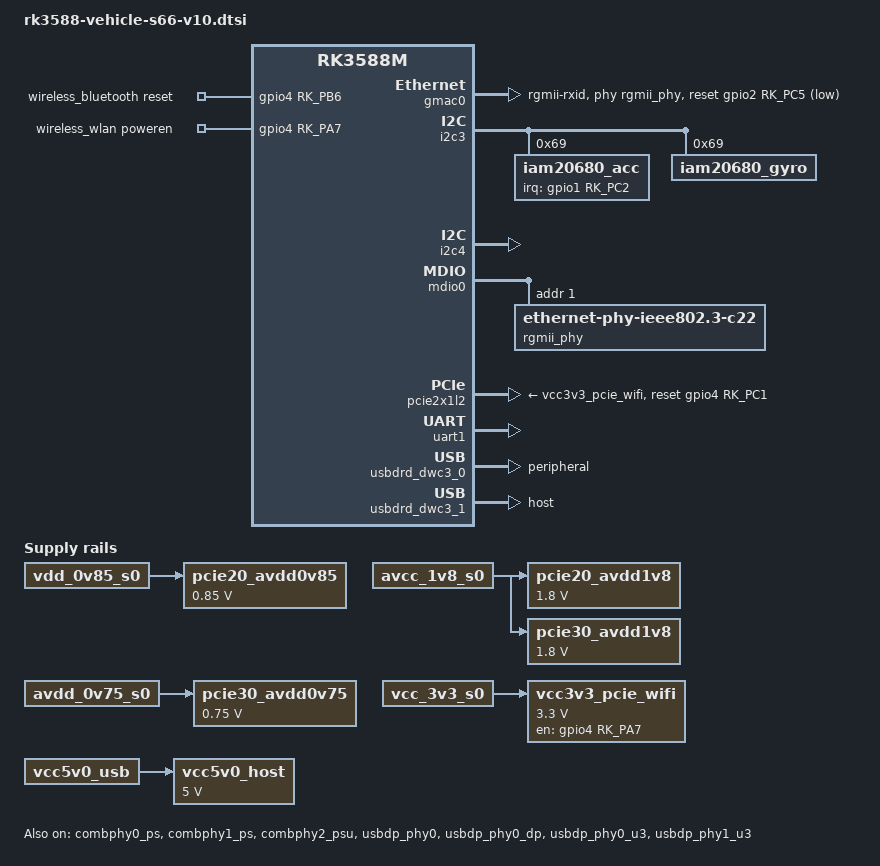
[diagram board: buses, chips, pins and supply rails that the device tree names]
// SPDX-License-Identifier: (GPL-2.0+ OR MIT)
/*
 * Copyright (c) 2023 Rockchip Electronics Co., Ltd.
 *
 */

#include "rk3588m.dtsi"
#include "rk3588-vehicle-s66.dtsi"
#include "rk3588-rk806-dual.dtsi"
/ {
	pcie20_avdd0v85: pcie20-avdd0v85 {
		compatible = "regulator-fixed";
		regulator-name = "pcie20_avdd0v85";
		regulator-boot-on;
		regulator-always-on;
		regulator-min-microvolt = <850000>;
		regulator-max-microvolt = <850000>;
		vin-supply = <&vdd_0v85_s0>;
	};

	pcie20_avdd1v8: pcie20-avdd1v8 {
		compatible = "regulator-fixed";
		regulator-name = "pcie20_avdd1v8";
		regulator-boot-on;
		regulator-always-on;
		regulator-min-microvolt = <1800000>;
		regulator-max-microvolt = <1800000>;
		vin-supply = <&avcc_1v8_s0>;
	};

	pcie30_avdd0v75: pcie30-avdd0v75 {
		compatible = "regulator-fixed";
		regulator-name = "pcie30_avdd0v75";
		regulator-boot-on;
		regulator-always-on;
		regulator-min-microvolt = <750000>;
		regulator-max-microvolt = <750000>;
		vin-supply = <&avdd_0v75_s0>;
	};

	pcie30_avdd1v8: pcie30-avdd1v8 {
		compatible = "regulator-fixed";
		regulator-name = "pcie30_avdd1v8";
		regulator-boot-on;
		regulator-always-on;
		regulator-min-microvolt = <1800000>;
		regulator-max-microvolt = <1800000>;
		vin-supply = <&avcc_1v8_s0>;
	};

	vcc3v3_pcie_wifi: vcc3v3-pcie-wifi {
		compatible = "regulator-fixed";
		regulator-name = "vcc3v3_pcie_wifi";
		regulator-always-on;
		regulator-min-microvolt = <3300000>;
		regulator-max-microvolt = <3300000>;
		enable-active-high;
		gpios = <&gpio4 RK_PA7 GPIO_ACTIVE_HIGH>;
		startup-delay-us = <5000>;
		vin-supply = <&vcc_3v3_s0>;
	};

	vcc5v0_host: vcc5v0-host {
		compatible = "regulator-fixed";
		regulator-name = "vcc5v0_host";
		regulator-boot-on;
		regulator-always-on;
		regulator-min-microvolt = <5000000>;
		regulator-max-microvolt = <5000000>;
		enable-active-high;
		//gpio = <&gpio4 RK_PA3 GPIO_ACTIVE_HIGH>;
		vin-supply = <&vcc5v0_usb>;
		//pinctrl-names = "default";
		//pinctrl-0 = <&vcc5v0_host_en>;
		//TODO: should powered by MCU
	};

	wireless_bluetooth: wireless-bluetooth {
		compatible = "bluetooth-platdata";
		BT,reset_gpio = <&gpio4 RK_PB6 GPIO_ACTIVE_HIGH>;
		status = "okay";
	};

	wireless_wlan: wireless-wlan {
		compatible = "wlan-platdata";
		wifi_chip_type = "ap6398s";
		WIFI,poweren_gpio = <&gpio4 RK_PA7 GPIO_ACTIVE_HIGH>;
		status = "okay";
	};
};

&combphy0_ps {
	status = "okay";
};

&combphy1_ps {
	status = "okay";
};

&combphy2_psu {
	status = "okay";
};

&gmac0 {
	/* Use rgmii-rxid mode to disable rx delay inside Soc */
	phy-mode = "rgmii-rxid";
	clock_in_out = "output";
	snps,reset-gpio = <&gpio2 RK_PC5 GPIO_ACTIVE_LOW>;
	snps,reset-active-low;
	/* Reset time is 20ms, 100ms for rtl8211f */
	snps,reset-delays-us = <0 20000 100000>;
	pinctrl-0 = <&gmac0_miim
		     &gmac0_tx_bus2
		     &gmac0_rx_bus2
		     &gmac0_rgmii_clk
		     &gmac0_rgmii_bus>;
	tx_delay = <0x43>;
	//rx_delay = <0x3f>;
	phy-handle = <&rgmii_phy>;
	status = "okay";
};

&i2c3 {
	status = "okay";

	iam20680_acc: acc@69 {
		compatible = "iam20680_acc";
		reg = <0x69>;
		irq-gpio = <&gpio1 RK_PC2 IRQ_TYPE_LEVEL_LOW>;
		irq_enable = <1>;
		poll_delay_ms = <30>;
		type = <SENSOR_TYPE_ACCEL>;
		layout = <1>;
	};

	iam20680_gyro: gyro@69 {
		compatible = "iam20680_gyro";
		reg = <0x69>;
		irq_enable = <0>;
		poll_delay_ms = <30>;
		type = <SENSOR_TYPE_GYROSCOPE>;
		layout = <1>;
	};

	//todo, add mfi
};

&i2c4 {
	status = "okay";
	pinctrl-0 = <&i2c4m0_xfer>;
	//todo, add LT9211
};

&mdio0 {
	rgmii_phy: phy@1 {
		compatible = "ethernet-phy-ieee802.3-c22";
		reg = <0x1>;
	};
};

&pcie2x1l0 {
	status = "disabled";
};

&pcie2x1l1 {
	status = "disabled";
};

&pcie2x1l2 {
	reset-gpios = <&gpio4 RK_PC1 GPIO_ACTIVE_HIGH>;
	rockchip,skip-scan-in-resume;
	rockchip,perst-inactive-ms = <500>;
	vpcie3v3-supply = <&vcc3v3_pcie_wifi>;
	status = "okay";
};

&pcie30phy {
	rockchip,pcie30-phymode = <PHY_MODE_PCIE_NABIBI>;
	status = "disabled";
};

&pcie3x4 {
	num-lanes = <1>;
	status = "disabled";
};

&sata0 {
	status = "disabled";
};

&sdmmc {
	status = "disabled";
};

&uart1 {
	status = "okay";
	pinctrl-names = "default";
	pinctrl-0 = <&uart1m1_xfer &uart1m1_ctsn &uart1m1_rtsn>;
};

&u2phy1_otg {
	phy-supply = <&vcc5v0_host>;
};

&u2phy2_host {
	phy-supply = <&vcc5v0_host>;
};

&u2phy3_host {
	phy-supply = <&vcc5v0_host>;
};

&usbdp_phy0 {
	rockchip,dp-lane-mux = <2 3>;
	status = "okay";
};

&usbdp_phy0_dp {
	status = "okay";
};

&usbdp_phy0_u3 {
	status = "okay";
};

&usbdp_phy1 {
	rockchip,dp-lane-mux = <3 2 1 0>;
	status = "disabled";
};

&usbdp_phy1_dp {
	status = "disabled";
};

&usbdp_phy1_u3 {
	maximum-speed = "high-speed";
	status = "okay";
};

&usbdrd_dwc3_0 {
	dr_mode = "peripheral";
	maximum-speed = "high-speed";
	extcon = <&u2phy0>;
	status = "okay";
};

&usbdrd_dwc3_1 {
	dr_mode = "host";
	maximum-speed = "high-speed";
	snps,dis_u2_susphy_quirk;
	status = "okay";
};
